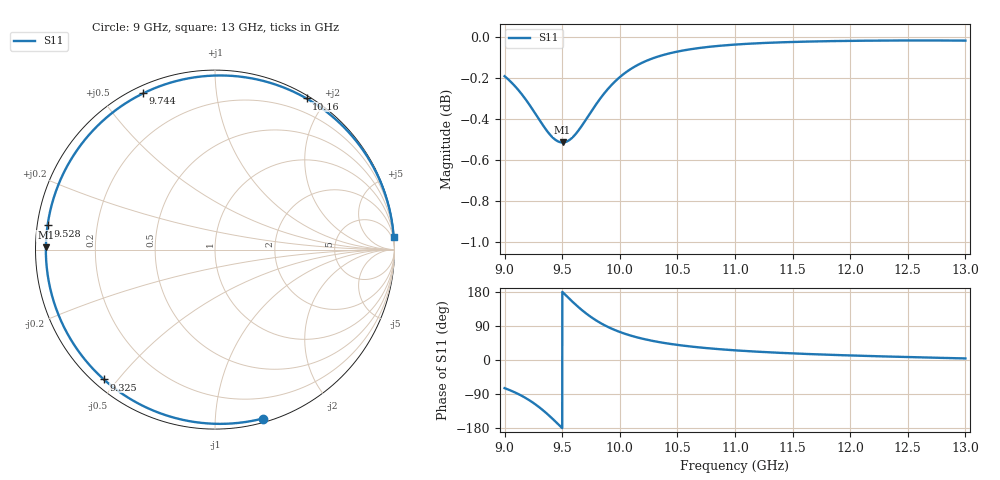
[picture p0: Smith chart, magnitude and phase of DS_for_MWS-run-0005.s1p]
! TOUCHSTONE file generated by CST DESIGN STUDIO
! Date and time: Tue Feb  4 13:38:54 2025
! Project name: C:\Work\MatlabApps\UnitCellOptimizationMatlab\CST\unitcell.cst
! Tree item: Tasks\Sweep1\SPara1\S-Parameters
! Header version: 2024
! Port assignment regex: !\s*Touchstone port\s*([0-9]+)\s*=\s*(CST MWS port|CST DES external port|CST DES block port)\s*(.+)\s* \(\"(.*)\"\)(\s*mode\s*([0-9]+))?.*
! Touchstone port assignment:
! Touchstone port 1 = CST DES external port 1 ("")
# GHz S MA R 50
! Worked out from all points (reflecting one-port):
!   4001 points, 9 GHz to 13 GHz, reference 50 ohm
!   lowest |S11| = -0.5 dB at 9.503 GHz (marker M1), VSWR 33.78, Z = 1.48 + j0.314 ohm
!   phase of S11 starts at -74 deg and turns -282 deg over the sweep
!   S11 on the Smith chart (normalised r, x): 9 GHz: 0.03, -1.32; 9.325 GHz: 0.03, -0.46; 9.528 GHz: 0.03, +0.07; 9.744 GHz: 0.03, +0.64; 10.16 GHz: 0.03, +1.78; 13 GHz: 1, +28
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9  0.9781 -74.3
9.086  0.9729 -85.0
9.188  0.965 -101.3
9.259  0.9586 -115.3
9.325  0.9523 -130.6
9.372  0.9483 -142.7
9.421  0.9449 -156.4
9.461  0.9431 -168.1
9.5  0.9425 -179.8
9.503  0.9425 179.3
9.528  0.9427 171.8
9.581  0.9447 156.2
9.641  0.9488 139.5
9.692  0.9533 126.6
9.744  0.9582 114.7
9.796  0.963 104.2
9.854  0.9679 93.9
9.926  0.9732 83.1
10  0.9776 74.0
10.162  0.9845 58.8
10.315  0.9886 48.7
10.5  0.9917 39.8
10.722  0.9939 32.3
11  0.9956 25.5
11.5  0.997 17.4
12  0.9976 12.0
12.5  0.9979 7.8
13  0.9978 4.1
